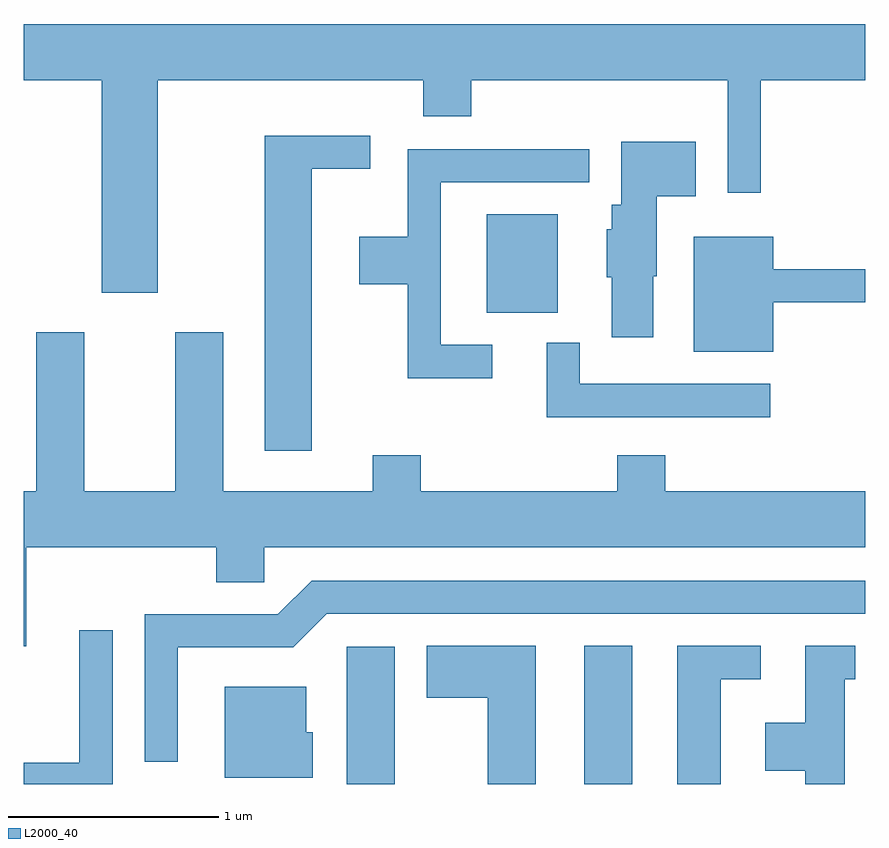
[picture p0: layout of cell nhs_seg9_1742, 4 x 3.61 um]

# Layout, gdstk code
import gdstk
lib = gdstk.Library(unit=1e-6, precision=1e-09)
def R(c, l, rs):  # rectangles x0, y0, x1, y1
    for r in rs: c.add(gdstk.rectangle(r[:2], r[2:], *l))
def P(c, l, *ps):  # polygons
    for p in ps: c.add(gdstk.Polygon(p, *l))
L2000_40 = (2000, 40)

nhs_seg9_1742 = lib.new_cell('nhs_seg9_1742')
R(nhs_seg9_1742, L2000_40, [(237.146,2028.432,237.374,2029.084), (238.276,2028.432,238.504,2029.089), (237.811,2030.671,238.149,2031.139)])
P(nhs_seg9_1742, L2000_40, [(236.249,2031.776),(237.511,2031.776),(237.511,2031.606),(237.739,2031.606),(237.739,2031.776),(238.956,2031.776),(238.956,2031.243),(239.114,2031.243),(239.114,2031.776),(239.611,2031.776),(239.611,2032.044),(235.611,2032.044),(235.611,2031.776),(235.981,2031.776),(235.981,2030.766),(236.249,2030.766)],
  [(236.979,2031.356),(237.258,2031.356),(237.258,2031.514),(236.756,2031.514),(236.756,2030.016),(236.979,2030.016)],
  [(238.604,2030.845),(238.619,2030.845),(238.619,2031.226),(238.804,2031.226),(238.804,2031.484),(238.451,2031.484),(238.451,2031.184),(238.406,2031.184),(238.406,2031.069),(238.381,2031.069),(238.381,2030.841),(238.406,2030.841),(238.406,2030.556),(238.604,2030.556)],
  [(237.838,2030.519),(237.594,2030.519),(237.594,2031.291),(238.298,2031.291),(238.298,2031.449),(237.436,2031.449),(237.436,2031.034),(237.206,2031.034),(237.206,2030.806),(237.436,2030.806),(237.436,2030.361),(237.838,2030.361)],
  [(239.174,2030.721),(239.611,2030.721),(239.611,2030.879),(239.174,2030.879),(239.174,2031.034),(238.796,2031.034),(238.796,2030.486),(239.174,2030.486)],
  [(235.624,2029.556),(236.526,2029.556),(236.526,2029.391),(236.754,2029.391),(236.754,2029.556),(239.611,2029.556),(239.611,2029.824),(238.659,2029.824),(238.659,2029.994),(238.431,2029.994),(238.431,2029.824),(237.499,2029.824),(237.499,2029.994),(237.271,2029.994),(237.271,2029.824),(236.559,2029.824),(236.559,2030.579),(236.331,2030.579),(236.331,2029.824),(235.899,2029.824),(235.899,2030.579),(235.671,2030.579),(235.671,2029.824),(235.611,2029.824),(235.611,2029.086),(235.624,2029.086)],
  [(239.158,2030.334),(238.254,2030.334),(238.254,2030.528),(238.096,2030.528),(238.096,2030.176),(239.158,2030.176)],
  [(236.344,2029.081),(236.892,2029.081),(237.052,2029.241),(239.611,2029.241),(239.611,2029.399),(236.979,2029.399),(236.819,2029.239),(236.186,2029.239),(236.186,2028.538),(236.344,2028.538)],
  [(236.034,2029.163),(235.876,2029.163),(235.876,2028.534),(235.611,2028.534),(235.611,2028.432),(236.034,2028.432)],
  [(238.924,2028.931),(239.113,2028.931),(239.113,2029.089),(238.716,2029.089),(238.716,2028.432),(238.924,2028.432)],
  [(238.044,2029.089),(237.526,2029.089),(237.526,2028.841),(237.816,2028.841),(237.816,2028.432),(238.044,2028.432)],
  [(239.514,2028.931),(239.563,2028.931),(239.563,2029.089),(239.326,2029.089),(239.326,2028.724),(239.136,2028.724),(239.136,2028.496),(239.326,2028.496),(239.326,2028.432),(239.514,2028.432)],
  [(236.984,2028.679),(236.954,2028.679),(236.954,2028.894),(236.566,2028.894),(236.566,2028.461),(236.984,2028.461)])

lib.write_gds('nhs_seg9_1742.gds')
